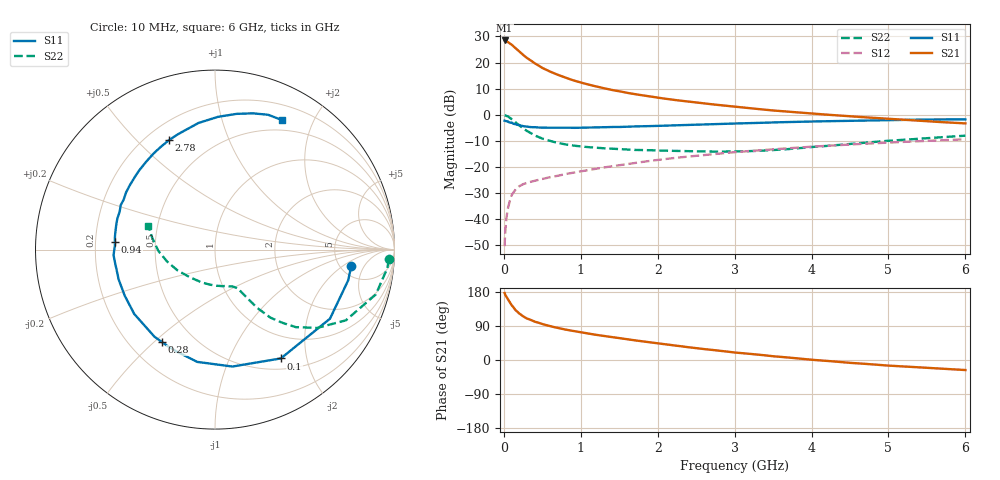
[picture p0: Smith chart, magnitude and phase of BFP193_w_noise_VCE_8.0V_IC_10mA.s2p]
! Infineon Technologies  Discrete & RF Semiconductors
! BFP193
! VCE = 8.0 V,  IC =  10 mA
! Common Emitter S-Parameters:  Jan 2016
# GHz  S  MA  R  50
!  f  S11  S21  S12  S22
! GHz  MAG  ANG  MAG  ANG  MAG  ANG  MAG  ANG
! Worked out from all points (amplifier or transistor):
!   210 points, 10 MHz to 6 GHz, reference 50 ohm
!   highest |S21| = 28.5 dB at 10 MHz (marker M1)
!   |S21| within 3 dB of that: start of sweep to 154 MHz
!   unconditionally stable (mu >= 1): 1.052 GHz to 3.77 GHz
!   at 185 MHz: K = 0.32, MSG = 26.3 dB, |S12| = -27.9 dB
!   at 1.52 GHz: K = 1.08, MAG = 12.4 dB, |S12| = -19.3 dB
!   at 6 GHz: K = 0.90, MSG = 3.0 dB, |S12| = -9.4 dB
!   lowest NFmin = 1.30 dB at 450 MHz
!   S11 on the Smith chart (normalised r, x): 10 MHz: 6.32, -2.72; 100 MHz: 0.65, -1.58; 280 MHz: 0.33, -0.53; 940 MHz: 0.28, +0.04; 2.78 GHz: 0.29, +0.63; 6 GHz: 0.37, +1.58
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0.01  0.7652 -6.7  26.51 176.6  0.003 86.1  0.9719 -3.2
0.02  0.7615 -13.0  26.05 171.4  0.0062 82.9  0.9649 -6.3
0.05  0.7474 -31.0  24.95 160.8  0.0151 75.8  0.9301 -15.6
0.1  0.7087 -58.8  22.18 145.1  0.0282 64.1  0.8286 -28.4
0.15  0.6588 -81.5  19 131.8  0.0364 55.3  0.717 -37.5
0.2  0.6334 -99.0  16.36 122.7  0.0423 49.6  0.6242 -43.8
0.24  0.607 -110.3  14.46 116.9  0.0455 46.7  0.561 -47.0
0.28  0.5934 -120.1  12.95 111.9  0.048 45.1  0.5105 -49.6
0.3  0.591 -124.8  12.26 109.4  0.0492 44.5  0.4874 -50.9
0.4  0.5753 -141.5  9.706 101.3  0.054 42.8  0.4001 -54.1
0.5  0.5647 -153.0  7.893 94.6  0.0584 42.8  0.3476 -55.6
0.6  0.562 -162.7  6.71 89.2  0.0633 43.4  0.3127 -56.7
0.7  0.561 -170.7  5.825 84.4  0.0671 44.6  0.2871 -57.7
0.94  0.5593 175.5  4.388 75.3  0.0787 46.2  0.2516 -59.8
1.02  0.5628 171.3  4.058 72.5  0.0825 46.7  0.2444 -60.8
1.4  0.5807 154.7  2.982 60.6  0.102 48.0  0.223 -66.9
2.02  0.6104 134.0  2.098 43.5  0.1364 46.2  0.2047 -81.5
2.78  0.6617 112.7  1.54 25.0  0.1782 41.2  0.196 -106.1
3.1  0.6813 105.4  1.374 18.1  0.1955 38.4  0.198 -118.2
4.1  0.7439 87.1  1.026 -0.8  0.2478 29.2  0.2449 -154.5
5.1  0.7914 73.2  0.816 -15.9  0.2961 19.0  0.3222 178.9
6  0.8124 62.7  0.68 -26.5  0.3371 9.6  0.3952 160.2
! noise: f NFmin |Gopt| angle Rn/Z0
0.45  1.3  0.22  143  0.11
0.9  1.3  0.34  160  0.11
1.8  2.05  0.54  -153  0.14
